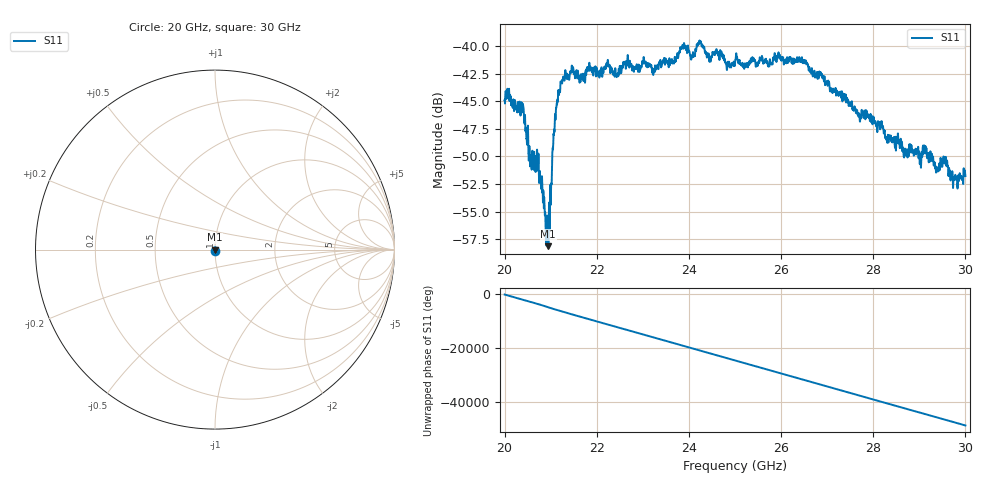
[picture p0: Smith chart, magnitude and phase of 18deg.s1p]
#  HZ  S  RI  R  50.00
! Rohde & Schwarz ZVA40 4Ports - Version 3.90 - 1145.1110k42 SN: 100403
! Date: 2023-10-03 11:41:16
! Measurement: S12
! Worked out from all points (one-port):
!   5001 points, 20 GHz to 30 GHz, reference 50 ohm
!   lowest |S11| = -58.1 dB at 20.95 GHz (marker M1), VSWR 1.00, Z = 49.9 - j0.0548 ohm
!   |S11| at or under -10 dB: start of sweep to end of sweep
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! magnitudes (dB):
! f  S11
! 20 GHz  -44.9
! 20.37 GHz  -45.4
! 20.56 GHz  -49.9
! 20.73 GHz  -49.7
! 20.9 GHz  -57.6
! 20.95 GHz  -58.1
! 20.98 GHz  -54.6
! 21.1 GHz  -46.6
! 21.25 GHz  -43.3
! 21.46 GHz  -42.1
! 22.5 GHz  -41.8
! 22.65 GHz  -41.5
! 23.24 GHz  -42.1
! 23.75 GHz  -40.7
! 23.88 GHz  -40.1
! 24.08 GHz  -40.7
! 24.24 GHz  -39.6
! 24.43 GHz  -40.8
! 25 GHz  -41.5
! 26.25 GHz  -41.6
! 26.53 GHz  -41.4
! 27.5 GHz  -45.4
! 28.75 GHz  -49.4
! 29.12 GHz  -49.6
! 29.38 GHz  -51.1
! 29.56 GHz  -50.5
! 29.78 GHz  -51.7
! 30 GHz  -51.8
